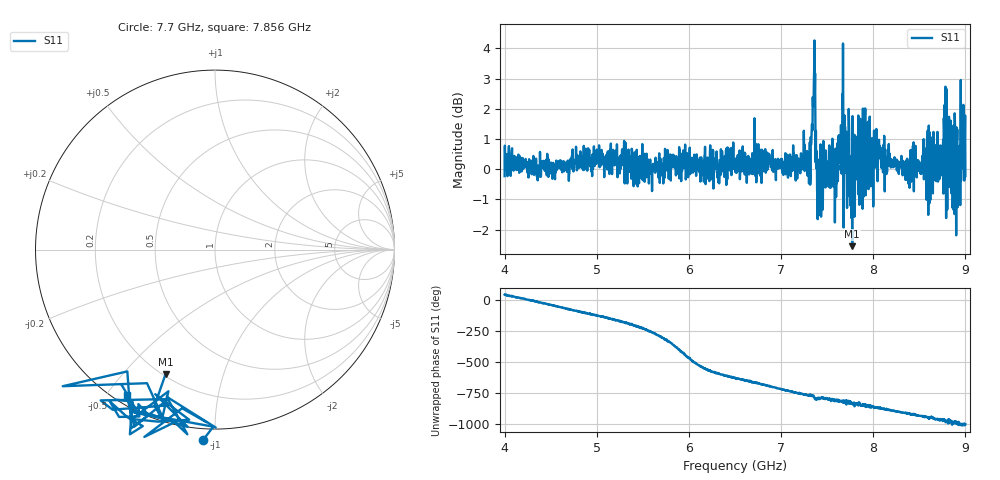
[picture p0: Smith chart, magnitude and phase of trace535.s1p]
! Created with skrf 1.8.0 (http://scikit-rf.org).
# Hz S RI R 50.0
!freq ReS11 ImS11
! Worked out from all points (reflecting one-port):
!   1601 points, 4 GHz to 9 GHz, reference 50 ohm
!   lowest |S11| = -2.5 dB at 7.772 GHz (marker M1), VSWR 6.87, Z = 10.5 - j32.9 ohm
!   phase of S11 starts at 46 deg and turns -1049 deg over the sweep
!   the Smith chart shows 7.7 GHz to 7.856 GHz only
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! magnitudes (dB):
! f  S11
! 4 GHz  -0.2
! 4.059 GHz  0.3
! 4.625 GHz  -0.1
! 5.25 GHz  -0.1
! 5.875 GHz  0.1
! 6.5 GHz  0.3
! 7.125 GHz  0.3
! 7.294 GHz  -0.2
! 7.316 GHz  -0.5
! 7.347 GHz  2.1
! 7.366 GHz  2.5
! 7.397 GHz  -1.7
! 7.409 GHz  0.1
! 7.538 GHz  0.4
! 7.594 GHz  -0.2
! 7.65 GHz  1.5
! 7.75 GHz  -1.2
! 7.772 GHz  -2.5
! 7.928 GHz  0.8
! 7.981 GHz  -0.6
! 8.05 GHz  0.7
! 8.375 GHz  0.0
! 8.725 GHz  0.4
! 8.791 GHz  -1.6
! 8.875 GHz  0.5
! 8.919 GHz  -1.0
! 8.972 GHz  0.6
! 9 GHz  -0.2
